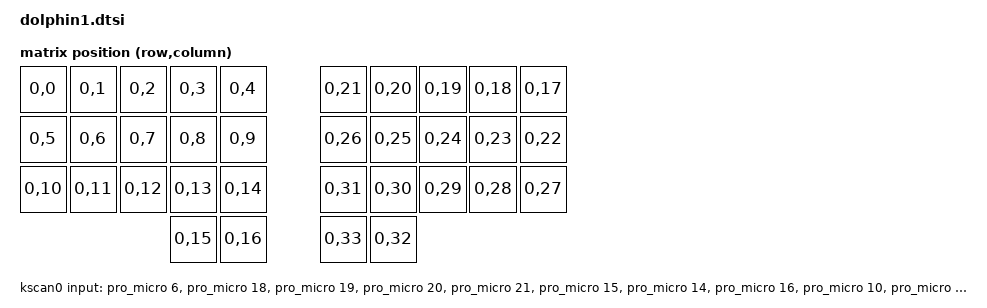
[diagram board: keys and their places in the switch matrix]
/*
 * Dolphin1 — 基于 Sweep 的自制 34 键分体键盘
 *
 * 与原版 cradio 的区别：SW 编号与网络标号 1:1 映射（未打乱），
 * 导致 input-gpios 中 pin 6 和 pin 7 的位置与原版互换。
 *
 * SPDX-License-Identifier: MIT
 */

#include <dt-bindings/zmk/matrix_transform.h>
#include <layouts/cuddlykeyboards/ferris.dtsi>

/ {
    chosen {
        zmk,kscan = &kscan0;
        zmk,physical-layout = &cuddlykeyboards_ferris_layout;
    };

    default_transform: keymap_transform_0 {
        compatible = "zmk,matrix-transform";
        columns = <34>;
        rows = <1>;
        map = <
        RC(0,0)  RC(0,1)  RC(0,2)  RC(0,3)  RC(0,4)    RC(0,21) RC(0,20) RC(0,19) RC(0,18) RC(0,17)
        RC(0,5)  RC(0,6)  RC(0,7)  RC(0,8)  RC(0,9)    RC(0,26) RC(0,25) RC(0,24) RC(0,23) RC(0,22)
        RC(0,10) RC(0,11) RC(0,12) RC(0,13) RC(0,14)   RC(0,31) RC(0,30) RC(0,29) RC(0,28) RC(0,27)
                                   RC(0,15) RC(0,16)   RC(0,33) RC(0,32)
        >;
    };

    kscan0: kscan {
        compatible = "zmk,kscan-gpio-direct";
        wakeup-source;

        input-gpios
        // 第一排 (Top Row: Q W E R T)
        = <&pro_micro  6 (GPIO_ACTIVE_LOW | GPIO_PULL_UP)> // SW1  → Q
        , <&pro_micro 18 (GPIO_ACTIVE_LOW | GPIO_PULL_UP)> // SW2  → W
        , <&pro_micro 19 (GPIO_ACTIVE_LOW | GPIO_PULL_UP)> // SW3  → E
        , <&pro_micro 20 (GPIO_ACTIVE_LOW | GPIO_PULL_UP)> // SW4  → R
        , <&pro_micro 21 (GPIO_ACTIVE_LOW | GPIO_PULL_UP)> // SW5  → T

        // 第二排 (Middle Row: A S D F G)
        , <&pro_micro 15 (GPIO_ACTIVE_LOW | GPIO_PULL_UP)> // SW6  → A
        , <&pro_micro 14 (GPIO_ACTIVE_LOW | GPIO_PULL_UP)> // SW7  → S
        , <&pro_micro 16 (GPIO_ACTIVE_LOW | GPIO_PULL_UP)> // SW8  → D
        , <&pro_micro 10 (GPIO_ACTIVE_LOW | GPIO_PULL_UP)> // SW9  → F
        , <&pro_micro  1 (GPIO_ACTIVE_LOW | GPIO_PULL_UP)> // SW10 → G

        // 第三排 (Bottom Row: Z X C V B)
        , <&pro_micro  2 (GPIO_ACTIVE_LOW | GPIO_PULL_UP)> // SW11 → Z
        , <&pro_micro  3 (GPIO_ACTIVE_LOW | GPIO_PULL_UP)> // SW12 → X
        , <&pro_micro  4 (GPIO_ACTIVE_LOW | GPIO_PULL_UP)> // SW13 → C
        , <&pro_micro  5 (GPIO_ACTIVE_LOW | GPIO_PULL_UP)> // SW14 → V
        , <&pro_micro  7 (GPIO_ACTIVE_LOW | GPIO_PULL_UP)> // SW15 → B

        // 拇指键簇 (Thumb Cluster)
        , <&pro_micro  8 (GPIO_ACTIVE_LOW | GPIO_PULL_UP)> // SW16 → Thumb 1
        , <&pro_micro  9 (GPIO_ACTIVE_LOW | GPIO_PULL_UP)> // SW17 → Thumb 2
        ;
    };

};

&cuddlykeyboards_ferris_layout {
    transform = <&default_transform>;
    kscan = <&kscan0>;
};
